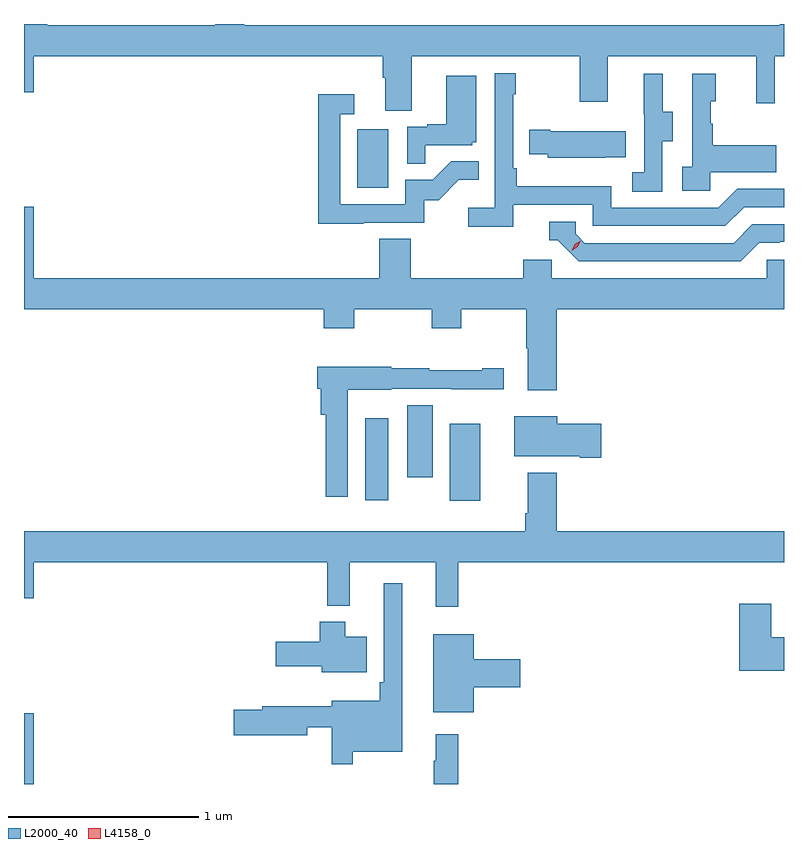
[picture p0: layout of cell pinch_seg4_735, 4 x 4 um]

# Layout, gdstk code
import gdstk
lib = gdstk.Library(unit=1e-6, precision=1e-09)
def R(c, l, rs):  # rectangles x0, y0, x1, y1
    for r in rs: c.add(gdstk.rectangle(r[:2], r[2:], *l))
def P(c, l, *ps):  # polygons
    for p in ps: c.add(gdstk.Polygon(p, *l))
L2000_40 = (2000, 40)
L4158_0 = (4158, 0)

pinch_seg4_735 = lib.new_cell('pinch_seg4_735')
R(pinch_seg4_735, L2000_40, [(860.424,815.634,860.476,816.007), (862.664,817.125,862.825,817.531), (862.22,817.128,862.342,817.558), (862.442,817.248,862.576,817.628), (862.178,818.772,862.342,819.079)])
P(pinch_seg4_735, L2000_40, [(860.424,819.634),(860.424,819.276),(860.476,819.276),(860.476,819.464),(862.313,819.464),(862.313,819.352),(862.325,819.352),(862.325,819.178),(862.465,819.178),(862.465,819.464),(863.35,819.464),(863.35,819.225),(863.497,819.225),(863.497,819.464),(864.278,819.464),(864.278,819.216),(864.375,819.216),(864.375,819.464),(864.424,819.464),(864.424,819.634),(864.401,819.634),(864.401,819.628),(861.584,819.628),(861.584,819.634),(861.431,819.634),(861.431,819.628),(860.547,819.628),(860.547,819.634)],
  [(863,818.682),(863.418,818.682),(863.418,818.571),(864.115,818.571),(864.214,818.67),(864.424,818.67),(864.424,818.766),(864.177,818.766),(864.078,818.667),(863.514,818.667),(863.514,818.779),(863.018,818.779),(863.018,818.875),(862.998,818.875),(862.998,819.263),(863.011,819.263),(863.011,819.376),(862.902,819.376),(862.902,818.668),(862.761,818.668),(862.761,818.566),(863,818.566)],
  [(864.036,818.855),(864.383,818.855),(864.383,818.995),(864.049,818.995),(864.049,819.11),(864.039,819.11),(864.039,819.228),(864.064,819.228),(864.064,819.373),(863.94,819.373),(863.94,818.882),(863.889,818.882),(863.889,818.757),(864.036,818.757)],
  [(863.784,819.016),(863.839,819.016),(863.839,819.171),(863.785,819.171),(863.785,819.373),(863.687,819.373),(863.687,819.159),(863.688,819.159),(863.688,818.855),(863.625,818.855),(863.625,818.752),(863.784,818.752)],
  [(862.535,818.997),(862.782,818.997),(862.782,819.012),(862.804,819.012),(862.804,819.361),(862.646,819.361),(862.646,819.106),(862.547,819.106),(862.547,819.093),(862.44,819.093),(862.44,818.899),(862.535,818.899)],
  [(862.211,818.589),(862.53,818.589),(862.53,818.706),(862.606,818.706),(862.713,818.813),(862.817,818.813),(862.817,818.912),(862.673,818.912),(862.575,818.814),(862.431,818.814),(862.431,818.685),(862.089,818.685),(862.089,819.159),(862.162,819.159),(862.162,819.265),(861.973,819.265),(861.973,818.584),(862.211,818.584)],
  [(863.483,818.933),(863.591,818.933),(863.591,819.07),(863.194,819.07),(863.194,819.078),(863.083,819.078),(863.083,818.948),(863.181,818.948),(863.181,818.93),(863.483,818.93)],
  [(863.228,818.132),(864.424,818.132),(864.424,818.394),(864.333,818.394),(864.333,818.296),(863.202,818.296),(863.202,818.394),(863.051,818.394),(863.051,818.296),(862.46,818.296),(862.46,818.504),(862.295,818.504),(862.295,818.296),(860.476,818.296),(860.476,818.671),(860.424,818.671),(860.424,818.132),(862.001,818.132),(862.001,818.033),(862.161,818.033),(862.161,818.132),(862.57,818.132),(862.57,818.033),(862.725,818.033),(862.725,818.132),(863.068,818.132),(863.068,817.928),(863.075,817.928),(863.075,817.707),(863.228,817.707)],
  [(864.295,818.484),(864.402,818.484),(864.402,818.487),(864.424,818.487),(864.424,818.58),(864.258,818.58),(864.159,818.481),(863.376,818.481),(863.328,818.529),(863.328,818.592),(863.189,818.592),(863.189,818.496),(863.232,818.496),(863.343,818.385),(864.196,818.385)],
  [(862.128,817.709),(862.356,817.709),(862.356,817.713),(862.672,817.713),(862.672,817.712),(862.948,817.712),(862.948,817.822),(862.835,817.822),(862.835,817.812),(862.556,817.812),(862.556,817.822),(862.356,817.822),(862.356,817.831),(861.968,817.831),(861.968,817.713),(861.986,817.713),(861.986,817.577),(862.012,817.577),(862.012,817.146),(862.128,817.146)],
  [(863.461,817.529),(863.23,817.529),(863.23,817.57),(863.003,817.57),(863.003,817.358),(863.348,817.358),(863.348,817.351),(863.461,817.351)],
  [(862.709,816.8),(864.424,816.8),(864.424,816.964),(863.228,816.964),(863.228,817.273),(863.075,817.273),(863.075,817.06),(863.063,817.06),(863.063,816.964),(860.424,816.964),(860.424,816.612),(860.476,816.612),(860.476,816.8),(862.021,816.8),(862.021,816.572),(862.139,816.572),(862.139,816.8),(862.592,816.8),(862.592,816.567),(862.709,816.567)],
  [(862.153,815.804),(862.414,815.804),(862.414,816.691),(862.317,816.691),(862.317,816.169),(862.297,816.169),(862.297,816.073),(862.043,816.073),(862.043,816.044),(861.677,816.044),(861.677,816.026),(861.528,816.026),(861.528,815.891),(861.916,815.891),(861.916,815.934),(862.044,815.934),(862.044,815.739),(862.153,815.739)],
  [(864.424,816.406),(864.358,816.406),(864.358,816.583),(864.188,816.583),(864.188,816.23),(864.424,816.23)],
  [(862.228,816.409),(862.114,816.409),(862.114,816.487),(861.98,816.487),(861.98,816.384),(861.75,816.384),(861.75,816.254),(861.992,816.254),(861.992,816.221),(862.228,816.221)],
  [(862.792,816.143),(863.035,816.143),(863.035,816.29),(862.792,816.29),(862.792,816.421),(862.577,816.421),(862.577,816.011),(862.792,816.011)],
  [(862.709,815.896),(862.592,815.896),(862.592,815.756),(862.581,815.756),(862.581,815.634),(862.709,815.634)])
P(pinch_seg4_735, L4158_0, [(863.307,818.441),(863.307,818.441),(863.323,818.474),(863.353,818.494),(863.354,818.494),(863.354,818.493),(863.338,818.461),(863.308,818.441)])

lib.write_gds('pinch_seg4_735.gds')
